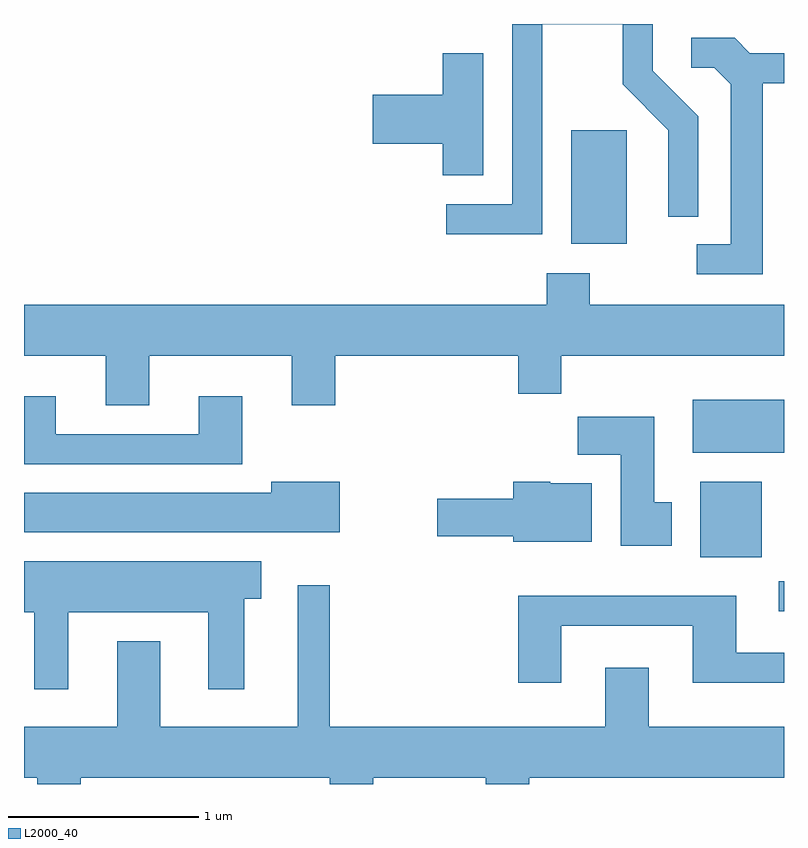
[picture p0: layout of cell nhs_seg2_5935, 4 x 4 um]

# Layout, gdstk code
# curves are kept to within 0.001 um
import gdstk
lib = gdstk.Library(unit=1e-6, precision=1e-09)
def R(c, l, rs):  # rectangles x0, y0, x1, y1
    for r in rs: c.add(gdstk.rectangle(r[:2], r[2:], *l))
def P(c, l, *ps):  # polygons
    for p in ps: c.add(gdstk.Polygon(p, *l))
L2000_40 = (2000, 40)

nhs_seg2_5935 = lib.new_cell('nhs_seg2_5935')
R(nhs_seg2_5935, L2000_40, [(363.583,1084.711,363.611,1084.869), (363.171,1084.996,363.494,1085.394), (363.131,1085.546,363.611,1085.824), (362.491,1086.646,362.784,1087.244)])
P(nhs_seg2_5935, L2000_40, [(362.339,1087.801),(362.761,1087.801),(362.761,1087.484),(363.001,1087.244),(363.001,1086.788),(363.159,1086.788),(363.159,1087.317),(362.919,1087.557),(362.919,1087.802),(361.833,1087.802),(362.181,1087.801),(362.181,1086.854),(361.833,1086.854),(361.833,1086.696),(362.339,1086.696)],
  [(363.499,1087.491),(363.611,1087.491),(363.611,1087.649),(363.432,1087.649),(363.352,1087.729),(363.123,1087.729),(363.123,1087.571),(363.244,1087.571),(363.331,1087.484),(363.331,1086.644),(363.153,1086.644),(363.153,1086.486),(363.499,1086.486)],
  [(362.029,1087.649),(361.816,1087.649),(361.816,1087.429),(361.446,1087.429),(361.446,1087.171),(361.816,1087.171),(361.816,1087.006),(362.029,1087.006)],
  [(360.269,1086.056),(361.021,1086.056),(361.021,1085.796),(361.249,1085.796),(361.249,1086.056),(362.211,1086.056),(362.211,1085.856),(362.439,1085.856),(362.439,1086.056),(363.611,1086.056),(363.611,1086.324),(362.589,1086.324),(362.589,1086.489),(362.361,1086.489),(362.361,1086.324),(359.611,1086.324),(359.611,1086.056),(360.041,1086.056),(360.041,1085.796),(360.269,1085.796)],
  [(360.759,1085.844),(360.531,1085.844),(360.531,1085.644),(359.779,1085.644),(359.779,1085.844),(359.611,1085.844),(359.611,1085.486),(360.759,1085.486)],
  [(363.019,1085.284),(362.929,1085.284),(362.929,1085.734),(362.526,1085.734),(362.526,1085.536),(362.751,1085.536),(362.751,1085.056),(363.019,1085.056)],
  [(362.599,1085.384),(362.38,1085.384),(362.38,1085.394),(362.186,1085.394),(362.186,1085.304),(361.786,1085.304),(361.786,1085.106),(362.186,1085.106),(362.186,1085.076),(362.599,1085.076)],
  [(361.274,1085.394),(360.911,1085.394),(360.911,1085.334),(359.611,1085.334),(359.611,1085.126),(361.274,1085.126)],
  [(359.844,1084.706),(360.581,1084.706),(360.581,1084.301),(360.769,1084.301),(360.769,1084.776),(360.859,1084.776),(360.859,1084.974),(359.611,1084.974),(359.611,1084.706),(359.666,1084.706),(359.666,1084.301),(359.844,1084.301)],
  [(359.909,1083.836),(361.221,1083.836),(361.221,1083.802),(361.449,1083.802),(361.449,1083.836),(362.041,1083.836),(362.041,1083.802),(362.269,1083.802),(362.269,1083.836),(363.611,1083.836),(363.611,1084.104),(362.899,1084.104),(362.899,1084.414),(362.671,1084.414),(362.671,1084.104),(361.219,1084.104),(361.219,1084.848),(361.051,1084.848),(361.051,1084.104),(360.329,1084.104),(360.329,1084.554),(360.101,1084.554),(360.101,1084.104),(359.611,1084.104),(359.611,1083.836),(359.681,1083.836),(359.681,1083.802),(359.909,1083.802)],
  [(362.439,1084.636),(363.131,1084.636),(363.131,1084.336),(363.611,1084.336),(363.611,1084.494),(363.359,1084.494),(363.359,1084.794),(362.211,1084.794),(362.211,1084.336),(362.439,1084.336)])

lib.write_gds('nhs_seg2_5935.gds')
